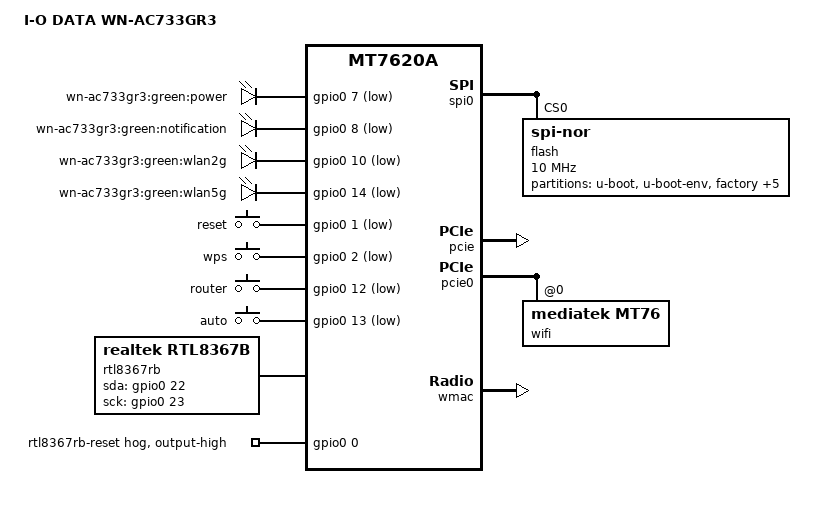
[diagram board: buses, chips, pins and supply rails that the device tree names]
// SPDX-License-Identifier: GPL-2.0-or-later OR MIT
/dts-v1/;

#include "mt7620a.dtsi"

#include <dt-bindings/gpio/gpio.h>
#include <dt-bindings/input/input.h>

/ {
	compatible = "iodata,wn-ac733gr3", "ralink,mt7620a-soc";
	model = "I-O DATA WN-AC733GR3";

	aliases {
		led-boot = &led_power;
		led-failsafe = &led_power;
		led-running = &led_power;
		led-upgrade = &led_power;
	};

	leds {
		compatible = "gpio-leds";

		led_power: power {
			label = "wn-ac733gr3:green:power";
			gpios = <&gpio0 7 GPIO_ACTIVE_LOW>;
			default-state = "on";
		};

		notification {
			label = "wn-ac733gr3:green:notification";
			gpios = <&gpio0 8 GPIO_ACTIVE_LOW>;
		};

		wlan2g {
			label = "wn-ac733gr3:green:wlan2g";
			gpios = <&gpio0 10 GPIO_ACTIVE_LOW>;
		};

		wlan5g {
			label = "wn-ac733gr3:green:wlan5g";
			gpios = <&gpio0 14 GPIO_ACTIVE_LOW>;
		};
	};

	keys {
		compatible = "gpio-keys";

		reset {
			label = "reset";
			gpios = <&gpio0 1 GPIO_ACTIVE_LOW>;
			linux,code = <KEY_RESTART>;
		};

		wps {
			label = "wps";
			gpios = <&gpio0 2 GPIO_ACTIVE_LOW>;
			linux,code = <KEY_WPS_BUTTON>;
		};

		router {
			label = "router";
			gpios = <&gpio0 12 GPIO_ACTIVE_LOW>;
			linux,code = <BTN_0>;
			linux,input-type = <EV_SW>;
		};

		auto {
			label = "auto";
			gpios = <&gpio0 13 GPIO_ACTIVE_LOW>;
			linux,code = <BTN_0>;
			linux,input-type = <EV_SW>;
		};
	};

	rtl8367rb {
		compatible = "realtek,rtl8367b";
		gpio-sda = <&gpio0 22 GPIO_ACTIVE_HIGH>;
		gpio-sck = <&gpio0 23 GPIO_ACTIVE_HIGH>;
		realtek,extif1 = <1 0 1 1 1 1 1 1 2>;
	};
};

&spi0 {
	status = "okay";

	flash@0 {
		compatible = "jedec,spi-nor";
		reg = <0>;
		spi-max-frequency = <10000000>;

		partitions {
			compatible = "fixed-partitions";
			#address-cells = <1>;
			#size-cells = <1>;

			partition@0 {
				label = "u-boot";
				reg = <0x0 0x30000>;
				read-only;
			};

			partition@30000 {
				label = "u-boot-env";
				reg = <0x30000 0x10000>;
				read-only;
			};

			factory: partition@40000 {
				label = "factory";
				reg = <0x40000 0x8000>;
				read-only;
			};

			iNIC_rf: partition@48000 {
				label = "iNIC_rf";
				reg = <0x48000 0x8000>;
				read-only;
			};

			partition@50000 {
				compatible = "denx,uimage";
				label = "firmware";
				reg = <0x50000 0x6d4000>;
			};

			partition@724000 {
				label = "manufacture";
				reg = <0x724000 0x8c000>;
				read-only;
			};

			partition@7b0000 {
				label = "backup";
				reg = <0x7b0000 0x10000>;
				read-only;
			};

			partition@7c0000 {
				label = "storage";
				reg = <0x7c0000 0x40000>;
				read-only;
			};
		};
	};
};

&ethernet {
	pinctrl-names = "default";
	pinctrl-0 = <&rgmii1_pins>;

	mtd-mac-address = <&factory 0x4>;

	port@5 {
		status = "okay";
		mediatek,fixed-link = <1000 1 1 1>;
		phy-mode = "rgmii";
	};
};

&gpio0 {
	rtl8367rb_reset {
		gpio-hog;
		gpios = <0 GPIO_ACTIVE_HIGH>;
		output-high;
		line-name = "rtl8367rb-reset";
	};
};

&state_default {
	gpio {
		groups = "i2c", "uartf", "mdio";
		function = "gpio";
	};
};

&pcie {
	status = "okay";
};

&pcie0 {
	wifi@0,0 {
		compatible = "mediatek,mt76";
		reg = <0x0000 0 0 0 0>;
		mediatek,mtd-eeprom = <&iNIC_rf 0x0>;
		ieee80211-freq-limit = <5000000 6000000>;
	};
};

&wmac {
	ralink,mtd-eeprom = <&factory 0x0>;
};
